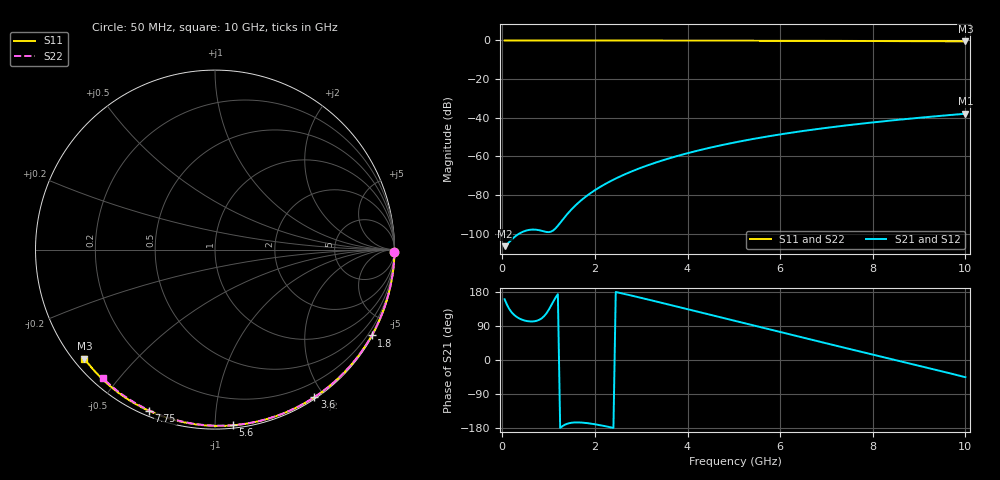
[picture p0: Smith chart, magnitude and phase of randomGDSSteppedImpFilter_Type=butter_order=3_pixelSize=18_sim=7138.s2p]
! freq	dB(S11)	phase(S11)	dB(S12)	phase(S12)
!  dB(S21)	phase(S21)	dB(S22)	phase(S22)
!S-par simulation data
#  GHz  S  DB  R 50
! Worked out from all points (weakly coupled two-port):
!   200 points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, 50 MHz to 10 GHz, reference 50 ohm
!   highest |S21| = -37.94 dB at 10 GHz (marker M1); lowest = -106.5 dB at 50 MHz (marker M2)
!   lowest |S11| = -0.5 dB at 10 GHz (marker M3), VSWR 37.26, Z = 1.52 - j18.1 ohm
!   |S11| at or under -10 dB: nowhere
!   |S22| runs from -0.4 to 0.0 dB; largest |S21 - S12| = 0
!   S11 on the Smith chart (normalised r, x): 50 MHz: open; 1.8 GHz: 0.03, -3.91; 3.6 GHz: 0.02, -1.88; 5.6 GHz: 0.02, -1.11; 7.75 GHz: 0.02, -0.67; 10 GHz: 0.03, -0.36
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0.05  -0.00 -0.8  -106.47 160.4  -106.47 160.4  -0.00 -0.8
0.45  -0.01 -7.3  -98.95 105.3  -98.95 105.3  -0.01 -6.8
0.9  -0.02 -14.5  -98.83 115.3  -98.83 115.3  -0.02 -13.6
1.75  -0.04 -27.9  -81.81 -165.5  -81.81 -165.5  -0.03 -26.1
1.8  -0.04 -28.7  -80.87 -166.1  -80.87 -166.1  -0.03 -26.9
1.85  -0.04 -29.5  -79.98 -166.8  -79.98 -166.8  -0.04 -27.6
2  -0.04 -31.8  -77.50 -169.6  -77.50 -169.6  -0.04 -29.8
2.15  -0.04 -34.1  -75.28 -172.9  -75.28 -172.9  -0.04 -32.0
2.35  -0.05 -37.2  -72.65 -177.9  -72.65 -177.9  -0.04 -34.9
2.55  -0.05 -40.3  -70.31 176.7  -70.31 176.7  -0.05 -37.7
2.95  -0.06 -46.3  -66.29 165.4  -66.29 165.4  -0.06 -43.4
3.4  -0.07 -53.1  -62.52 152.1  -62.52 152.1  -0.07 -49.8
3.6  -0.08 -56.0  -61.04 146.1  -61.04 146.1  -0.07 -52.5
4.3  -0.09 -66.2  -56.55 125.1  -56.55 125.1  -0.09 -62.1
5.05  -0.12 -76.7  -52.63 102.4  -52.63 102.4  -0.11 -72.0
5.6  -0.14 -84.3  -50.20 85.8  -50.20 85.8  -0.13 -79.1
6.15  -0.16 -91.6  -48.07 69.2  -48.07 69.2  -0.15 -86.0
6.7  -0.19 -98.8  -46.17 52.8  -46.17 52.8  -0.18 -92.8
7.75  -0.26 -112.2  -43.08 21.8  -43.08 21.8  -0.24 -105.4
8.35  -0.31 -119.7  -41.54 4.2  -41.54 4.2  -0.29 -112.4
9.2  -0.38 -130.3  -39.58 -21.0  -39.58 -21.0  -0.36 -122.1
10  -0.47 -140.2  -37.94 -45.5  -37.94 -45.5  -0.44 -131.1
